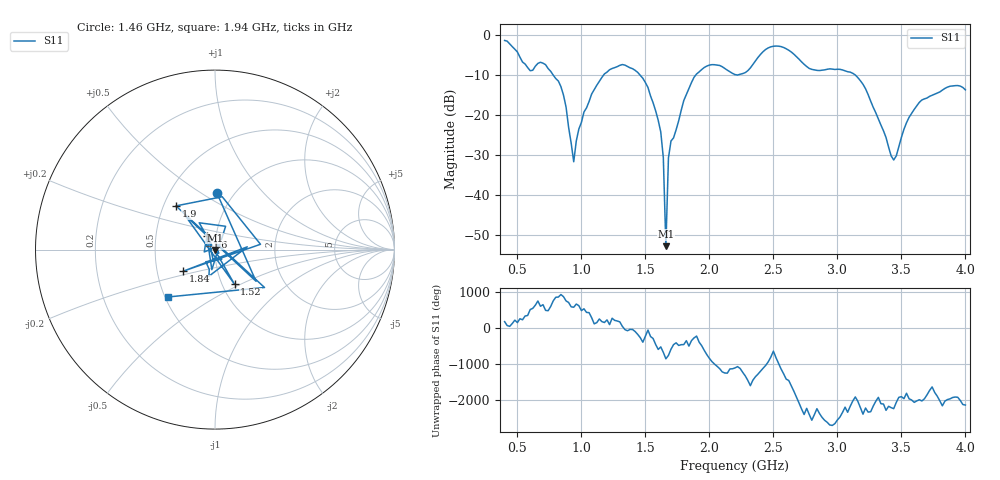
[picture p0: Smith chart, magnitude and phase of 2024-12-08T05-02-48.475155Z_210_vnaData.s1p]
!Created with skrf (http://scikit-rf.org).
# Hz S RI R 50.0
!freq ReS11 ImS11
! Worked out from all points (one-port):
!   181 points, 400 MHz to 4 GHz, reference 50 ohm
!   lowest |S11| = -52.8 dB at 1.66 GHz (marker M1), VSWR 1.00, Z = 49.8 - j0.152 ohm
!   |S11| at or under -10 dB: 779.7 MHz to 1.173 GHz (393.4 MHz wide, 40.3 % of centre); 1.458 GHz to 1.893 GHz (435.1 MHz wide, 26 % of centre); 3.141 GHz to end of sweep
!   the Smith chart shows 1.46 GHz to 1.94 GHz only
!   S11 on the Smith chart (normalised r, x): 1.46 GHz: 0.84, +0.58; 1.52 GHz: 1.14, -0.46; 1.6 GHz: 0.90, +0.13; 1.84 GHz: 0.68, -0.17; 1.9 GHz: 0.58, +0.32; 1.94 GHz: 0.52, -0.32
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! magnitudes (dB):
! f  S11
! 400 MHz  -1.3
! 600 MHz  -8.9
! 720 MHz  -7.4
! 860 MHz  -15.0
! 940 MHz  -31.7
! 980 MHz  -23.5
! 1.08 GHz  -14.7
! 1.3 GHz  -7.6
! 1.46 GHz  -10.1
! 1.52 GHz  -13.1
! 1.6 GHz  -21.3
! 1.64 GHz  -30.7
! 1.66 GHz  -52.8
! 1.68 GHz  -30.7
! 1.76 GHz  -21.4
! 1.84 GHz  -13.4
! 1.9 GHz  -9.7
! 1.94 GHz  -8.6
! 2.2 GHz  -9.9
! 2.48 GHz  -2.9
! 2.66 GHz  -4.8
! 2.8 GHz  -8.6
! 3.1 GHz  -9.3
! 3.22 GHz  -13.4
! 3.44 GHz  -31.2
! 3.56 GHz  -20.6
! 3.86 GHz  -13.0
! 4 GHz  -13.7
